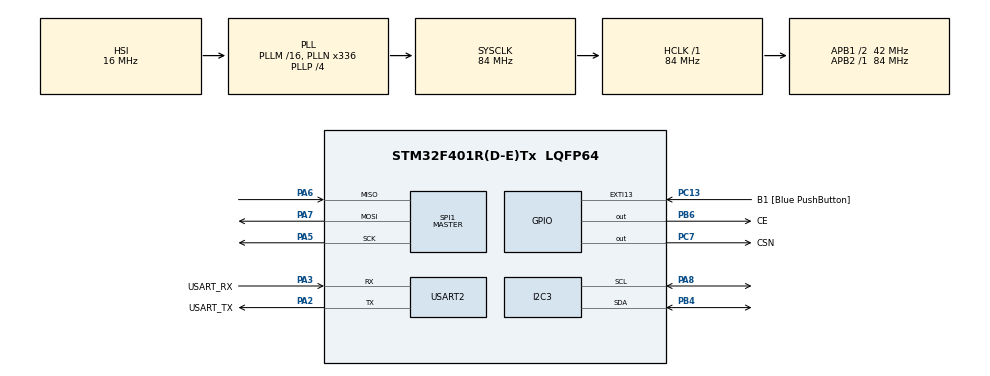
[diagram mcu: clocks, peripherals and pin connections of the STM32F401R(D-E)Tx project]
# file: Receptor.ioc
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I2C3.I2C_Mode=I2C_Fast
Mcu.Family=STM32F4
Mcu.Name=STM32F401R(D-E)Tx
Mcu.Package=LQFP64
NVIC.PriorityGroup=NVIC_PRIORITYGROUP_0
PA13.GPIO_Label=TMS
PA13.Mode=Serial_Wire
PA13.Signal=SYS_JTMS-SWDIO
PA14.GPIO_Label=TCK
PA14.Mode=Serial_Wire
PA14.Signal=SYS_JTCK-SWCLK
PA2.GPIO_Label=USART_TX
PA2.GPIO_Mode=GPIO_MODE_AF_PP
PA2.GPIO_PuPd=GPIO_NOPULL
PA2.GPIO_Speed=GPIO_SPEED_FREQ_LOW
PA2.Mode=Asynchronous
PA2.Signal=USART2_TX
PA3.GPIO_Label=USART_RX
PA3.GPIO_Mode=GPIO_MODE_AF_PP
PA3.GPIO_PuPd=GPIO_NOPULL
PA3.GPIO_Speed=GPIO_SPEED_FREQ_LOW
PA3.Mode=Asynchronous
PA3.Signal=USART2_RX
PA5.Mode=Full_Duplex_Master
PA5.Signal=SPI1_SCK
PA6.Mode=Full_Duplex_Master
PA6.Signal=SPI1_MISO
PA7.Mode=Full_Duplex_Master
PA7.Signal=SPI1_MOSI
PA8.Mode=I2C
PA8.Signal=I2C3_SCL
PB3.GPIO_Label=SWO
PB3.Signal=SYS_JTDO-SWO
PB4.Mode=I2C
PB4.Signal=I2C3_SDA
PB6.GPIO_Label=CE
PB6.Signal=GPIO_Output
PC13-ANTI_TAMP.GPIO_Label=B1 [Blue PushButton]
PC13-ANTI_TAMP.GPIO_ModeDefaultEXTI=GPIO_MODE_IT_FALLING
PC13-ANTI_TAMP.GPIO_PuPd=GPIO_NOPULL
PC13-ANTI_TAMP.Signal=GPXTI13
PC14-OSC32_IN.Mode=LSE-External-Oscillator
PC14-OSC32_IN.Signal=RCC_OSC32_IN
PC15-OSC32_OUT.Mode=LSE-External-Oscillator
PC15-OSC32_OUT.Signal=RCC_OSC32_OUT
PC7.GPIO_Label=CSN
PC7.Signal=GPIO_Output
PH0\ -\ OSC_IN.Mode=HSE-External-Clock-Source
PH0\ -\ OSC_IN.Signal=RCC_OSC_IN
PH1\ -\ OSC_OUT.Mode=HSE-External-Clock-Source
PH1\ -\ OSC_OUT.Signal=RCC_OSC_OUT
ProjectManager.HeapSize=0x200
ProjectManager.StackSize=0x400
ProjectManager.TargetToolchain=STM32CubeIDE
RCC.48MHZClocksFreq_Value=48000000
RCC.AHBFreq_Value=84000000
RCC.APB1CLKDivider=RCC_HCLK_DIV2
RCC.APB1Freq_Value=42000000
RCC.APB1TimFreq_Value=84000000
RCC.APB2Freq_Value=84000000
RCC.APB2TimFreq_Value=84000000
RCC.CortexFreq_Value=84000000
RCC.HCLKFreq_Value=84000000
RCC.HSE_VALUE=8000000
RCC.HSI_VALUE=16000000
RCC.PLLN=336
RCC.PLLP=RCC_PLLP_DIV4
RCC.PLLQ=7
RCC.SYSCLKFreq_VALUE=84000000
RCC.SYSCLKSource=RCC_SYSCLKSOURCE_PLLCLK
RCC.VCOOutputFreq_Value=336000000
SPI1.BaudRatePrescaler=SPI_BAUDRATEPRESCALER_16
SPI1.Direction=SPI_DIRECTION_2LINES
SPI1.Mode=SPI_MODE_MASTER
SPI1.VirtualType=VM_MASTER
USART2.VirtualMode=VM_ASYNC
board=NUCLEO-F401RE

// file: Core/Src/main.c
/* USER CODE BEGIN Header */
/**
  ******************************************************************************
  * @file           : main.c
  * @brief          : Main program body
  ******************************************************************************
  * @attention
  *
  * <h2><center>&copy; Copyright (c) 2020 STMicroelectronics.
  * All rights reserved.</center></h2>
  *
  * This software component is licensed by ST under BSD 3-Clause license,
  * the "License"; You may not use this file except in compliance with the
  * License. You may obtain a copy of the License at:
  *                        opensource.org/licenses/BSD-3-Clause
  *
  ******************************************************************************
  */
/* USER CODE END Header */

#include "main.h"

/* USER CODE BEGIN Includes */
#include "MY_NRF24.h"
#include "i2c_lcd.h"
#include <stdio.h>
/* USER CODE END Includes */

I2C_HandleTypeDef hi2c3;

SPI_HandleTypeDef hspi1;

UART_HandleTypeDef huart2;

/* USER CODE BEGIN PV */
uint64_t DireccionRecepcion = 0x11223344AA;
char mensaje[50];
uint8_t i = 0, j = 0, size = 0;
/* USER CODE END PV */

void SystemClock_Config(void);
static void MX_GPIO_Init(void);
static void MX_USART2_UART_Init(void);
static void MX_I2C3_Init(void);
static void MX_SPI1_Init(void);

int main(void)
{

  /* MCU Configuration--------------------------------------------------------*/

  /* Reset of all peripherals, Initializes the Flash interface and the Systick. */
  HAL_Init();

  /* Configure the system clock */
  SystemClock_Config();

  /* Initialize all configured peripherals */
  MX_GPIO_Init();
  MX_USART2_UART_Init();
  MX_I2C3_Init();
  MX_SPI1_Init();
  /* USER CODE BEGIN 2 */
  NRF24_begin(CSN_GPIO_Port, CE_GPIO_Port, CSN_Pin, CE_Pin, hspi1);

  NRF24_setAutoAck(true);
  NRF24_setChannel(52);
  NRF24_setPayloadSize(32);
  NRF24_openReadingPipe(1, DireccionRecepcion);
  NRF24_enableDynamicPayloads();
  NRF24_enableAckPayload();
  NRF24_setDataRate(RF24_250KBPS);

  NRF24_startListening();

  i2c_lcd lcd;
  i2c_lcd_config config;
  {
  	  config.addres = 0x27;
  	  config.cols = 16;
  	  config.rows = 2;
  	  config.timeout = 100;
  	  config.i2c = &hi2c3;
  	  config.mode = 0;
  }

  i2c_lcd_init(&lcd, &config);

  struct {
	  int heart, pitch, roll, temperature, altitude, velocity;
	  int pressure, humidity;
	  float latitude, longitude;
  } allData;

  /* USER CODE END 2 */

  /* Infinite loop */
  /* USER CODE BEGIN WHILE */
  while (1)
  {
	  if(NRF24_available())
	  {
	  	  memset(mensaje, 0, sizeof(mensaje));
	  	  NRF24_read(mensaje, 32);
	  	  size = sscanf(mensaje, "%d,%d,%d,%d,%d,%d,%d,%d", &allData.heart, &allData.pitch, &allData.roll,
	  			  	  	  	  	  	  	  	  	  	  	  	&allData.temperature, &allData.pressure, &allData.humidity,
															&allData.altitude, &allData.velocity);

	  	  sscanf(mensaje, "$%f,%f", &allData.latitude, &allData.longitude);

	  	  if (size > 0){
			  size = sprintf(mensaje, "1 H*%d* P*%d* R*%d* T*%d* X*%d* Y*%d* A*%d* V*%d*", allData.heart, allData.pitch, allData.roll,
														   allData.temperature, allData.pressure, allData.humidity,
														   allData.altitude, allData.velocity);
	  	  }
	  	  else{
	  		  size = sprintf(mensaje, "2 G*%3.11f* J*%3.11f*", allData.latitude, allData.longitude);
	  	  }

	  	  mensaje[size] = '\r';
	  	  mensaje[size + 1] = '\n';
	  	  HAL_UART_Transmit(&huart2, (uint8_t*) mensaje, size + 2, 100);
	  }
    /* USER CODE END WHILE */

  }
}

void SystemClock_Config(void)
{
  RCC_OscInitTypeDef RCC_OscInitStruct = {0};
  RCC_ClkInitTypeDef RCC_ClkInitStruct = {0};

  /** Configure the main internal regulator output voltage
  */
  __HAL_RCC_PWR_CLK_ENABLE();
  __HAL_PWR_VOLTAGESCALING_CONFIG(PWR_REGULATOR_VOLTAGE_SCALE2);
  /** Initializes the CPU, AHB and APB busses clocks
  */
  RCC_OscInitStruct.OscillatorType = RCC_OSCILLATORTYPE_HSI;
  RCC_OscInitStruct.HSIState = RCC_HSI_ON;
  RCC_OscInitStruct.HSICalibrationValue = RCC_HSICALIBRATION_DEFAULT;
  RCC_OscInitStruct.PLL.PLLState = RCC_PLL_ON;
  RCC_OscInitStruct.PLL.PLLSource = RCC_PLLSOURCE_HSI;
  RCC_OscInitStruct.PLL.PLLM = 16;
  RCC_OscInitStruct.PLL.PLLN = 336;
  RCC_OscInitStruct.PLL.PLLP = RCC_PLLP_DIV4;
  RCC_OscInitStruct.PLL.PLLQ = 7;
  if (HAL_RCC_OscConfig(&RCC_OscInitStruct) != HAL_OK)
  {
    Error_Handler();
  }
  /** Initializes the CPU, AHB and APB busses clocks
  */
  RCC_ClkInitStruct.ClockType = RCC_CLOCKTYPE_HCLK|RCC_CLOCKTYPE_SYSCLK
                              |RCC_CLOCKTYPE_PCLK1|RCC_CLOCKTYPE_PCLK2;
  RCC_ClkInitStruct.SYSCLKSource = RCC_SYSCLKSOURCE_PLLCLK;
  RCC_ClkInitStruct.AHBCLKDivider = RCC_SYSCLK_DIV1;
  RCC_ClkInitStruct.APB1CLKDivider = RCC_HCLK_DIV2;
  RCC_ClkInitStruct.APB2CLKDivider = RCC_HCLK_DIV1;

  if (HAL_RCC_ClockConfig(&RCC_ClkInitStruct, FLASH_LATENCY_2) != HAL_OK)
  {
    Error_Handler();
  }
}

static void MX_I2C3_Init(void)
{

  hi2c3.Instance = I2C3;
  hi2c3.Init.ClockSpeed = 400000;
  hi2c3.Init.DutyCycle = I2C_DUTYCYCLE_2;
  hi2c3.Init.OwnAddress1 = 0;
  hi2c3.Init.AddressingMode = I2C_ADDRESSINGMODE_7BIT;
  hi2c3.Init.DualAddressMode = I2C_DUALADDRESS_DISABLE;
  hi2c3.Init.OwnAddress2 = 0;
  hi2c3.Init.GeneralCallMode = I2C_GENERALCALL_DISABLE;
  hi2c3.Init.NoStretchMode = I2C_NOSTRETCH_DISABLE;
  if (HAL_I2C_Init(&hi2c3) != HAL_OK)
  {
    Error_Handler();
  }

}

static void MX_SPI1_Init(void)
{

  /* SPI1 parameter configuration*/
  hspi1.Instance = SPI1;
  hspi1.Init.Mode = SPI_MODE_MASTER;
  hspi1.Init.Direction = SPI_DIRECTION_2LINES;
  hspi1.Init.DataSize = SPI_DATASIZE_8BIT;
  hspi1.Init.CLKPolarity = SPI_POLARITY_LOW;
  hspi1.Init.CLKPhase = SPI_PHASE_1EDGE;
  hspi1.Init.NSS = SPI_NSS_SOFT;
  hspi1.Init.BaudRatePrescaler = SPI_BAUDRATEPRESCALER_16;
  hspi1.Init.FirstBit = SPI_FIRSTBIT_MSB;
  hspi1.Init.TIMode = SPI_TIMODE_DISABLE;
  hspi1.Init.CRCCalculation = SPI_CRCCALCULATION_DISABLE;
  hspi1.Init.CRCPolynomial = 10;
  if (HAL_SPI_Init(&hspi1) != HAL_OK)
  {
    Error_Handler();
  }

}

static void MX_USART2_UART_Init(void)
{

  huart2.Instance = USART2;
  huart2.Init.BaudRate = 115200;
  huart2.Init.WordLength = UART_WORDLENGTH_8B;
  huart2.Init.StopBits = UART_STOPBITS_1;
  huart2.Init.Parity = UART_PARITY_NONE;
  huart2.Init.Mode = UART_MODE_TX_RX;
  huart2.Init.HwFlowCtl = UART_HWCONTROL_NONE;
  huart2.Init.OverSampling = UART_OVERSAMPLING_16;
  if (HAL_UART_Init(&huart2) != HAL_OK)
  {
    Error_Handler();
  }

}

static void MX_GPIO_Init(void)
{
  GPIO_InitTypeDef GPIO_InitStruct = {0};

  /* GPIO Ports Clock Enable */
  __HAL_RCC_GPIOC_CLK_ENABLE();
  __HAL_RCC_GPIOH_CLK_ENABLE();
  __HAL_RCC_GPIOA_CLK_ENABLE();
  __HAL_RCC_GPIOB_CLK_ENABLE();

  /*Configure GPIO pin Output Level */
  HAL_GPIO_WritePin(CSN_GPIO_Port, CSN_Pin, GPIO_PIN_RESET);

  /*Configure GPIO pin Output Level */
  HAL_GPIO_WritePin(CE_GPIO_Port, CE_Pin, GPIO_PIN_RESET);

  /*Configure GPIO pin : B1_Pin */
  GPIO_InitStruct.Pin = B1_Pin;
  GPIO_InitStruct.Mode = GPIO_MODE_IT_FALLING;
  GPIO_InitStruct.Pull = GPIO_NOPULL;
  HAL_GPIO_Init(B1_GPIO_Port, &GPIO_InitStruct);

  /*Configure GPIO pin : CSN_Pin */
  GPIO_InitStruct.Pin = CSN_Pin;
  GPIO_InitStruct.Mode = GPIO_MODE_OUTPUT_PP;
  GPIO_InitStruct.Pull = GPIO_NOPULL;
  GPIO_InitStruct.Speed = GPIO_SPEED_FREQ_LOW;
  HAL_GPIO_Init(CSN_GPIO_Port, &GPIO_InitStruct);

  /*Configure GPIO pin : CE_Pin */
  GPIO_InitStruct.Pin = CE_Pin;
  GPIO_InitStruct.Mode = GPIO_MODE_OUTPUT_PP;
  GPIO_InitStruct.Pull = GPIO_NOPULL;
  GPIO_InitStruct.Speed = GPIO_SPEED_FREQ_LOW;
  HAL_GPIO_Init(CE_GPIO_Port, &GPIO_InitStruct);

}

void Error_Handler(void)
{
}

/************************ (C) COPYRIGHT STMicroelectronics *****END OF FILE****/
